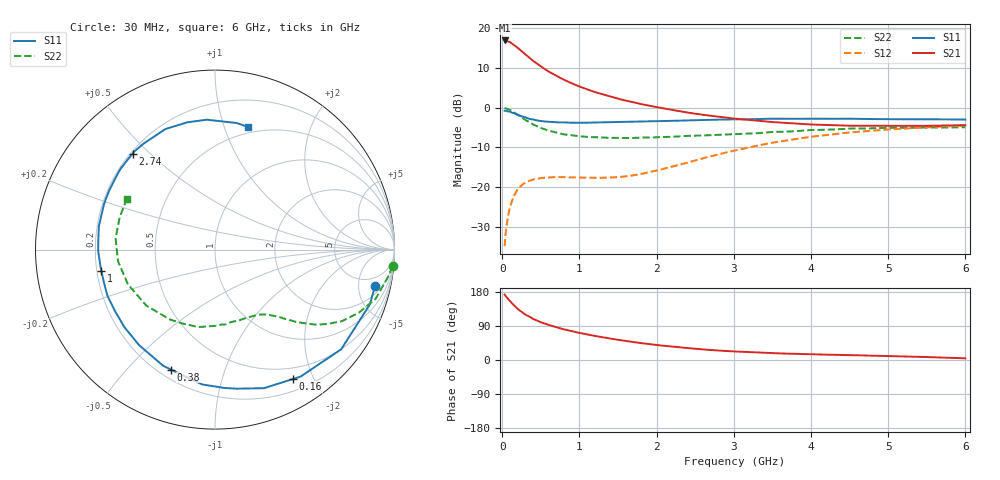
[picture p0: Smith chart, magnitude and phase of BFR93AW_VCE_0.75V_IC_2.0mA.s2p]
! Infineon Technologies  Discrete & RF Semiconductors
! BFR93AW
! VCE = 0.75 V,  IC =  2.0 mA
! Common Emitter S-Parameters:  Nov 2015
# GHz  S  MA  R  50
!  f  S11  S21  S12  S22
! GHz  MAG  ANG  MAG  ANG  MAG  ANG  MAG  ANG
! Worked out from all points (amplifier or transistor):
!   206 points, 30 MHz to 6 GHz, reference 50 ohm
!   highest |S21| = 16.9 dB at 30 MHz (marker M1)
!   |S21| within 3 dB of that: start of sweep to 267.9 MHz
!   unconditionally stable (mu >= 1): 1.183 GHz to 2.764 GHz; 4.855 GHz to end of sweep
!   at 200 MHz: K = 0.17, MSG = 17.8 dB, |S12| = -20.6 dB
!   at 1.56 GHz: K = 1.20, MAG = 7.0 dB, |S12| = -17.4 dB
!   at 6 GHz: K = 1.02, MAG = -0.9 dB, |S12| = -4.5 dB
!   S11 on the Smith chart (normalised r, x): 30 MHz: 3.15, -7.72; 160 MHz: 0.35, -1.72; 380 MHz: 0.25, -0.67; 1 GHz: 0.22, -0.09; 2.74 GHz: 0.21, +0.44; 6 GHz: 0.44, +1.21
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0.03  0.9144 -12.7  7.038 172.5  0.0179 82.4  0.9941 -5.4
0.05  0.9152 -19.5  6.981 167.2  0.0295 79.1  0.9774 -8.8
0.1  0.896 -38.3  6.713 155.2  0.056 69.0  0.9362 -17.0
0.15  0.8532 -56.0  6.212 144.0  0.0768 59.9  0.8751 -23.7
0.16  0.8421 -58.8  6.095 142.3  0.08 58.2  0.8621 -24.8
0.2  0.819 -70.5  5.687 134.7  0.0935 52.7  0.8133 -29.3
0.26  0.7724 -86.2  5.058 125.1  0.1068 45.5  0.7407 -34.1
0.3  0.7545 -95.5  4.69 119.6  0.114 41.8  0.6994 -36.7
0.38  0.7119 -110.2  4.035 111.0  0.1221 36.3  0.6305 -40.3
0.4  0.709 -114.0  3.889 108.4  0.1243 35.1  0.6137 -41.3
0.5  0.6797 -128.5  3.31 99.4  0.1297 30.7  0.5525 -44.5
0.6  0.6643 -139.5  2.852 92.4  0.1319 28.1  0.5125 -46.8
0.8  0.652 -156.9  2.242 80.8  0.1328 25.7  0.4601 -51.8
1  0.6446 -169.5  1.845 71.4  0.1313 26.7  0.436 -56.4
1.04  0.6447 -171.6  1.785 69.8  0.1311 27.2  0.4324 -57.7
1.5  0.6601 168.5  1.294 53.2  0.1329 37.5  0.4168 -71.6
2.02  0.6752 150.7  1.006 39.0  0.1627 51.4  0.4246 -89.4
2.74  0.7045 130.7  0.782 25.9  0.2493 57.9  0.4506 -114.6
3.1  0.7123 121.7  0.714 21.7  0.3009 56.1  0.4654 -126.6
4.1  0.7243 100.5  0.609 14.6  0.4402 43.9  0.5237 -161.3
5.1  0.7144 85.2  0.59 9.8  0.5368 29.3  0.5561 171.0
6  0.7074 74.9  0.602 4.4  0.5953 18.0  0.5669 150.1
